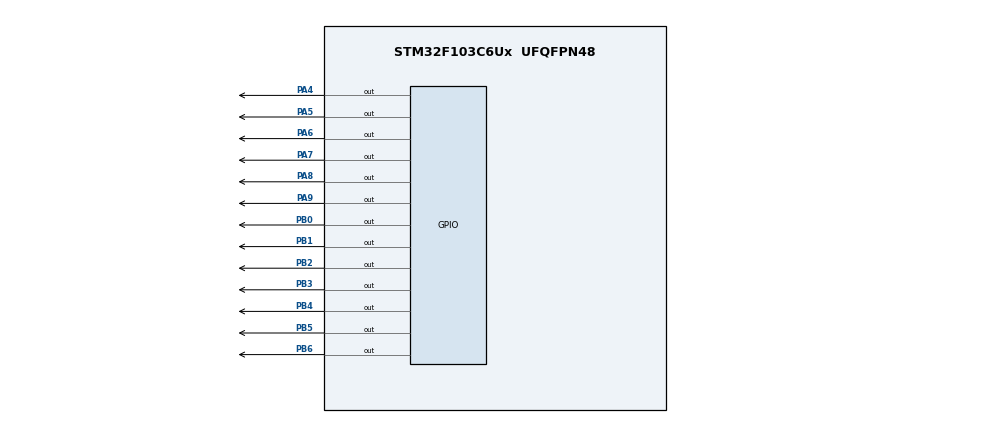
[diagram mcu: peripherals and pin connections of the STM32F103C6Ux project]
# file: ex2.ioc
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Mcu.Family=STM32F1
Mcu.Name=STM32F103C6Ux
Mcu.Package=UFQFPN48
NVIC.PriorityGroup=NVIC_PRIORITYGROUP_4
NVIC.TIM2_IRQn=true\:0\:0\:false\:false\:true\:true\:true\:true
PA4.Signal=GPIO_Output
PA5.Signal=GPIO_Output
PA6.Signal=GPIO_Output
PA7.Signal=GPIO_Output
PA8.Signal=GPIO_Output
PA9.Signal=GPIO_Output
PB0.Signal=GPIO_Output
PB1.Signal=GPIO_Output
PB2.Signal=GPIO_Output
PB3.Signal=GPIO_Output
PB4.Signal=GPIO_Output
PB5.Signal=GPIO_Output
PB6.Signal=GPIO_Output
ProjectManager.HeapSize=0x200
ProjectManager.StackSize=0x400
ProjectManager.TargetToolchain=STM32CubeIDE
RCC.APB1Freq_Value=8000000
RCC.APB2Freq_Value=8000000
TIM2.Period=9
TIM2.Prescaler=7999
VP_TIM2_VS_ClockSourceINT.Mode=Internal
board=custom

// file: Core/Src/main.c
/* USER CODE BEGIN Header */
/**
  ******************************************************************************
  * @file           : main.c
  * @brief          : Main program body
  ******************************************************************************
  * @attention
  *
  * Copyright (c) 2022 STMicroelectronics.
  * All rights reserved.
  *
  * This software is licensed under terms that can be found in the LICENSE file
  * in the root directory of this software component.
  * If no LICENSE file comes with this software, it is provided AS-IS.
  *
  ******************************************************************************
  */
/* USER CODE END Header */
#include "main.h"

TIM_HandleTypeDef htim2;

void SystemClock_Config(void);
static void MX_GPIO_Init(void);
static void MX_TIM2_Init(void);

/* USER CODE BEGIN 0 */
void display7SEG(int num) {
	switch(num) {
	case 0:
		HAL_GPIO_WritePin(GPIOB, GPIO_PIN_0, RESET);
		HAL_GPIO_WritePin(GPIOB, GPIO_PIN_1, RESET);
		HAL_GPIO_WritePin(GPIOB, GPIO_PIN_2, RESET);
		HAL_GPIO_WritePin(GPIOB, GPIO_PIN_3, RESET);
		HAL_GPIO_WritePin(GPIOB, GPIO_PIN_4, RESET);
		HAL_GPIO_WritePin(GPIOB, GPIO_PIN_5, RESET);
		HAL_GPIO_WritePin(GPIOB, GPIO_PIN_6, SET);
		break;
	case 1:
		HAL_GPIO_WritePin(GPIOB, GPIO_PIN_0, SET);
		HAL_GPIO_WritePin(GPIOB, GPIO_PIN_1, RESET);
		HAL_GPIO_WritePin(GPIOB, GPIO_PIN_2, RESET);
		HAL_GPIO_WritePin(GPIOB, GPIO_PIN_3, SET);
		HAL_GPIO_WritePin(GPIOB, GPIO_PIN_4, SET);
		HAL_GPIO_WritePin(GPIOB, GPIO_PIN_5, SET);
		HAL_GPIO_WritePin(GPIOB, GPIO_PIN_6, SET);
		break;
	case 2:
		HAL_GPIO_WritePin(GPIOB, GPIO_PIN_0, RESET);
		HAL_GPIO_WritePin(GPIOB, GPIO_PIN_1, RESET);
		HAL_GPIO_WritePin(GPIOB, GPIO_PIN_2, SET);
		HAL_GPIO_WritePin(GPIOB, GPIO_PIN_3, RESET);
		HAL_GPIO_WritePin(GPIOB, GPIO_PIN_4, RESET);
		HAL_GPIO_WritePin(GPIOB, GPIO_PIN_5, SET);
		HAL_GPIO_WritePin(GPIOB, GPIO_PIN_6, RESET);
		break;
	case 3:
		HAL_GPIO_WritePin(GPIOB, GPIO_PIN_0, RESET);
		HAL_GPIO_WritePin(GPIOB, GPIO_PIN_1, RESET);
		HAL_GPIO_WritePin(GPIOB, GPIO_PIN_2, RESET);
		HAL_GPIO_WritePin(GPIOB, GPIO_PIN_3, RESET);
		HAL_GPIO_WritePin(GPIOB, GPIO_PIN_4, SET);
		HAL_GPIO_WritePin(GPIOB, GPIO_PIN_5, SET);
		HAL_GPIO_WritePin(GPIOB, GPIO_PIN_6, RESET);
		break;
	case 4:
		HAL_GPIO_WritePin(GPIOB, GPIO_PIN_0, SET);
		HAL_GPIO_WritePin(GPIOB, GPIO_PIN_1, RESET);
		HAL_GPIO_WritePin(GPIOB, GPIO_PIN_2, RESET);
		HAL_GPIO_WritePin(GPIOB, GPIO_PIN_3, SET);
		HAL_GPIO_WritePin(GPIOB, GPIO_PIN_4, SET);
		HAL_GPIO_WritePin(GPIOB, GPIO_PIN_5, RESET);
		HAL_GPIO_WritePin(GPIOB, GPIO_PIN_6, RESET);
		break;
	case 5:
		HAL_GPIO_WritePin(GPIOB, GPIO_PIN_0, RESET);
		HAL_GPIO_WritePin(GPIOB, GPIO_PIN_1, SET);
		HAL_GPIO_WritePin(GPIOB, GPIO_PIN_2, RESET);
		HAL_GPIO_WritePin(GPIOB, GPIO_PIN_3, RESET);
		HAL_GPIO_WritePin(GPIOB, GPIO_PIN_4, SET);
		HAL_GPIO_WritePin(GPIOB, GPIO_PIN_5, RESET);
		HAL_GPIO_WritePin(GPIOB, GPIO_PIN_6, RESET);
		break;
	case 6:
		HAL_GPIO_WritePin(GPIOB, GPIO_PIN_0, RESET);
		HAL_GPIO_WritePin(GPIOB, GPIO_PIN_1, SET);
		HAL_GPIO_WritePin(GPIOB, GPIO_PIN_2, RESET);
		HAL_GPIO_WritePin(GPIOB, GPIO_PIN_3, RESET);
		HAL_GPIO_WritePin(GPIOB, GPIO_PIN_4, RESET);
		HAL_GPIO_WritePin(GPIOB, GPIO_PIN_5, RESET);
		HAL_GPIO_WritePin(GPIOB, GPIO_PIN_6, RESET);
		break;
	case 7:
		HAL_GPIO_WritePin(GPIOB, GPIO_PIN_0, RESET);
		HAL_GPIO_WritePin(GPIOB, GPIO_PIN_1, RESET);
		HAL_GPIO_WritePin(GPIOB, GPIO_PIN_2, RESET);
		HAL_GPIO_WritePin(GPIOB, GPIO_PIN_3, SET);
		HAL_GPIO_WritePin(GPIOB, GPIO_PIN_4, SET);
		HAL_GPIO_WritePin(GPIOB, GPIO_PIN_5, SET);
		HAL_GPIO_WritePin(GPIOB, GPIO_PIN_6, SET);
		break;
	case 8:
		HAL_GPIO_WritePin(GPIOB, GPIO_PIN_0, RESET);
		HAL_GPIO_WritePin(GPIOB, GPIO_PIN_1, RESET);
		HAL_GPIO_WritePin(GPIOB, GPIO_PIN_2, RESET);
		HAL_GPIO_WritePin(GPIOB, GPIO_PIN_3, RESET);
		HAL_GPIO_WritePin(GPIOB, GPIO_PIN_4, RESET);
		HAL_GPIO_WritePin(GPIOB, GPIO_PIN_5, RESET);
		HAL_GPIO_WritePin(GPIOB, GPIO_PIN_6, RESET);
		break;
	case 9:
		HAL_GPIO_WritePin(GPIOB, GPIO_PIN_0, RESET);
		HAL_GPIO_WritePin(GPIOB, GPIO_PIN_1, RESET);
		HAL_GPIO_WritePin(GPIOB, GPIO_PIN_2, RESET);
		HAL_GPIO_WritePin(GPIOB, GPIO_PIN_3, RESET);
		HAL_GPIO_WritePin(GPIOB, GPIO_PIN_4, SET);
		HAL_GPIO_WritePin(GPIOB, GPIO_PIN_5, RESET);
		HAL_GPIO_WritePin(GPIOB, GPIO_PIN_6, RESET);
		break;
	}
}
/* USER CODE END 0 */

int main(void)
{

  /* MCU Configuration--------------------------------------------------------*/

  /* Reset of all peripherals, Initializes the Flash interface and the Systick. */
  HAL_Init();

  /* Configure the system clock */
  SystemClock_Config();

  /* Initialize all configured peripherals */
  MX_GPIO_Init();
  MX_TIM2_Init();
  /* USER CODE BEGIN 2 */
  HAL_TIM_Base_Start_IT(&htim2);
  /* USER CODE END 2 */

  /* Infinite loop */
  while (1)
  {

  }
}

void SystemClock_Config(void)
{
  RCC_OscInitTypeDef RCC_OscInitStruct = {0};
  RCC_ClkInitTypeDef RCC_ClkInitStruct = {0};

  /** Initializes the RCC Oscillators according to the specified parameters
  * in the RCC_OscInitTypeDef structure.
  */
  RCC_OscInitStruct.OscillatorType = RCC_OSCILLATORTYPE_HSI;
  RCC_OscInitStruct.HSIState = RCC_HSI_ON;
  RCC_OscInitStruct.HSICalibrationValue = RCC_HSICALIBRATION_DEFAULT;
  RCC_OscInitStruct.PLL.PLLState = RCC_PLL_NONE;
  if (HAL_RCC_OscConfig(&RCC_OscInitStruct) != HAL_OK)
  {
    Error_Handler();
  }

  /** Initializes the CPU, AHB and APB buses clocks
  */
  RCC_ClkInitStruct.ClockType = RCC_CLOCKTYPE_HCLK|RCC_CLOCKTYPE_SYSCLK
                              |RCC_CLOCKTYPE_PCLK1|RCC_CLOCKTYPE_PCLK2;
  RCC_ClkInitStruct.SYSCLKSource = RCC_SYSCLKSOURCE_HSI;
  RCC_ClkInitStruct.AHBCLKDivider = RCC_SYSCLK_DIV1;
  RCC_ClkInitStruct.APB1CLKDivider = RCC_HCLK_DIV1;
  RCC_ClkInitStruct.APB2CLKDivider = RCC_HCLK_DIV1;

  if (HAL_RCC_ClockConfig(&RCC_ClkInitStruct, FLASH_LATENCY_0) != HAL_OK)
  {
    Error_Handler();
  }
}

static void MX_TIM2_Init(void)
{

  TIM_ClockConfigTypeDef sClockSourceConfig = {0};
  TIM_MasterConfigTypeDef sMasterConfig = {0};

  htim2.Instance = TIM2;
  htim2.Init.Prescaler = 7999;
  htim2.Init.CounterMode = TIM_COUNTERMODE_UP;
  htim2.Init.Period = 9;
  htim2.Init.ClockDivision = TIM_CLOCKDIVISION_DIV1;
  htim2.Init.AutoReloadPreload = TIM_AUTORELOAD_PRELOAD_DISABLE;
  if (HAL_TIM_Base_Init(&htim2) != HAL_OK)
  {
    Error_Handler();
  }
  sClockSourceConfig.ClockSource = TIM_CLOCKSOURCE_INTERNAL;
  if (HAL_TIM_ConfigClockSource(&htim2, &sClockSourceConfig) != HAL_OK)
  {
    Error_Handler();
  }
  sMasterConfig.MasterOutputTrigger = TIM_TRGO_RESET;
  sMasterConfig.MasterSlaveMode = TIM_MASTERSLAVEMODE_DISABLE;
  if (HAL_TIMEx_MasterConfigSynchronization(&htim2, &sMasterConfig) != HAL_OK)
  {
    Error_Handler();
  }

}

static void MX_GPIO_Init(void)
{
  GPIO_InitTypeDef GPIO_InitStruct = {0};

  /* GPIO Ports Clock Enable */
  __HAL_RCC_GPIOA_CLK_ENABLE();
  __HAL_RCC_GPIOB_CLK_ENABLE();

  /*Configure GPIO pin Output Level */
  HAL_GPIO_WritePin(GPIOA, GPIO_PIN_4|GPIO_PIN_5|GPIO_PIN_6|GPIO_PIN_7
                          |GPIO_PIN_8|GPIO_PIN_9, GPIO_PIN_RESET);

  /*Configure GPIO pin Output Level */
  HAL_GPIO_WritePin(GPIOB, GPIO_PIN_0|GPIO_PIN_1|GPIO_PIN_2|GPIO_PIN_3
                          |GPIO_PIN_4|GPIO_PIN_5|GPIO_PIN_6, GPIO_PIN_RESET);

  /*Configure GPIO pins : PA4 PA5 PA6 PA7
                           PA8 PA9 */
  GPIO_InitStruct.Pin = GPIO_PIN_4|GPIO_PIN_5|GPIO_PIN_6|GPIO_PIN_7
                          |GPIO_PIN_8|GPIO_PIN_9;
  GPIO_InitStruct.Mode = GPIO_MODE_OUTPUT_PP;
  GPIO_InitStruct.Pull = GPIO_NOPULL;
  GPIO_InitStruct.Speed = GPIO_SPEED_FREQ_LOW;
  HAL_GPIO_Init(GPIOA, &GPIO_InitStruct);

  /*Configure GPIO pins : PB0 PB1 PB2 PB3
                           PB4 PB5 PB6 */
  GPIO_InitStruct.Pin = GPIO_PIN_0|GPIO_PIN_1|GPIO_PIN_2|GPIO_PIN_3
                          |GPIO_PIN_4|GPIO_PIN_5|GPIO_PIN_6;
  GPIO_InitStruct.Mode = GPIO_MODE_OUTPUT_PP;
  GPIO_InitStruct.Pull = GPIO_NOPULL;
  GPIO_InitStruct.Speed = GPIO_SPEED_FREQ_LOW;
  HAL_GPIO_Init(GPIOB, &GPIO_InitStruct);

}

/* USER CODE BEGIN 4 */
int counter = 200;
void HAL_TIM_PeriodElapsedCallback ( TIM_HandleTypeDef * htim )
{
	counter --;
	if( counter == 150) {
		//GPIOA->ODR = 0x0111 << 6;
		display7SEG(1);
		HAL_GPIO_WritePin(GPIOA, GPIO_PIN_6, 0);
		HAL_GPIO_WritePin(GPIOA, GPIO_PIN_7|GPIO_PIN_8|GPIO_PIN_9, 1);
		HAL_GPIO_TogglePin(GPIOA, GPIO_PIN_5);
	}
	if (counter == 100) {
		display7SEG(2);
		HAL_GPIO_WritePin(GPIOA, GPIO_PIN_7, 0);
		HAL_GPIO_WritePin(GPIOA, GPIO_PIN_6|GPIO_PIN_8|GPIO_PIN_9, 1);
		HAL_GPIO_TogglePin(GPIOA, GPIO_PIN_4);
		HAL_GPIO_TogglePin(GPIOA, GPIO_PIN_5);
	}
	if (counter == 50) {
		display7SEG(3);
		HAL_GPIO_WritePin(GPIOA, GPIO_PIN_8, 0);
		HAL_GPIO_WritePin(GPIOA, GPIO_PIN_6|GPIO_PIN_7|GPIO_PIN_9, 1);
		HAL_GPIO_TogglePin(GPIOA, GPIO_PIN_5);
	}
	if (counter <= 0) {
		counter = 200;
		display7SEG(0);
		HAL_GPIO_WritePin(GPIOA, GPIO_PIN_9, 0);
		HAL_GPIO_WritePin(GPIOA, GPIO_PIN_6|GPIO_PIN_7|GPIO_PIN_8, 1);
		HAL_GPIO_TogglePin(GPIOA, GPIO_PIN_4);
		HAL_GPIO_TogglePin(GPIOA, GPIO_PIN_5);
	}

}
/* USER CODE END 4 */

void Error_Handler(void)
{
  __disable_irq();
  while (1)
  {
  }
}
